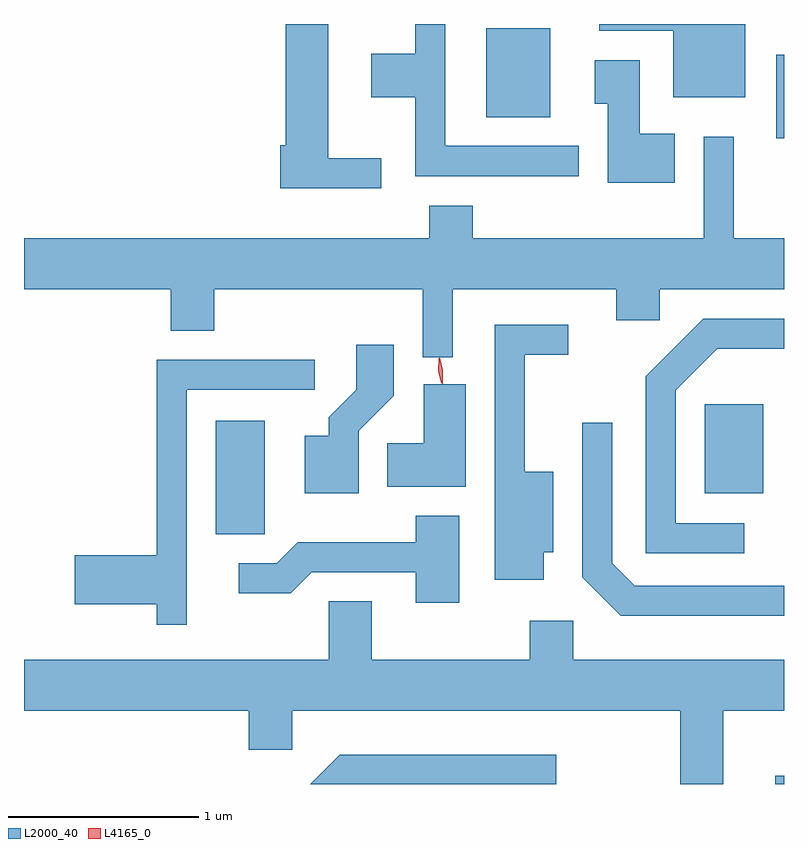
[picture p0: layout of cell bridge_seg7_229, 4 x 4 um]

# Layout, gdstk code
import gdstk
lib = gdstk.Library(unit=1e-6, precision=1e-09)
def R(c, l, rs):  # rectangles x0, y0, x1, y1
    for r in rs: c.add(gdstk.rectangle(r[:2], r[2:], *l))
def P(c, l, *ps):  # polygons
    for p in ps: c.add(gdstk.Polygon(p, *l))
L2000_40 = (2000, 40)
L4165_0 = (4165, 0)

bridge_seg7_229 = lib.new_cell('bridge_seg7_229')
R(bridge_seg7_229, L2000_40, [(1757.811,1718.371,1757.858,1718.414), (1754.866,1719.686,1755.124,1720.284), (1757.441,1719.901,1757.749,1720.369), (1757.816,1721.771,1757.858,1722.209), (1756.291,1721.881,1756.629,1722.349)])
P(bridge_seg7_229, L2000_40, [(1757.654,1722.371),(1756.886,1722.371),(1756.886,1722.336),(1757.276,1722.336),(1757.276,1721.986),(1757.654,1721.986)],
  [(1756.778,1721.729),(1756.074,1721.729),(1756.074,1722.371),(1755.916,1722.371),(1755.916,1722.214),(1755.686,1722.214),(1755.686,1721.986),(1755.916,1721.986),(1755.916,1721.571),(1756.778,1721.571)],
  [(1755.738,1721.664),(1755.459,1721.664),(1755.459,1722.371),(1755.236,1722.371),(1755.236,1721.734),(1755.206,1721.734),(1755.206,1721.506),(1755.738,1721.506)],
  [(1757.284,1721.794),(1757.099,1721.794),(1757.099,1722.179),(1756.861,1722.179),(1756.861,1721.951),(1756.931,1721.951),(1756.931,1721.536),(1757.284,1721.536)],
  [(1756.114,1720.976),(1756.976,1720.976),(1756.976,1720.811),(1757.204,1720.811),(1757.204,1720.976),(1757.858,1720.976),(1757.858,1721.244),(1757.594,1721.244),(1757.594,1721.778),(1757.436,1721.778),(1757.436,1721.244),(1756.219,1721.244),(1756.219,1721.414),(1755.991,1721.414),(1755.991,1721.244),(1753.858,1721.244),(1753.858,1720.976),(1754.631,1720.976),(1754.631,1720.756),(1754.859,1720.756),(1754.859,1720.976),(1755.956,1720.976),(1755.956,1720.618),(1756.114,1720.618)],
  [(1757.648,1719.744),(1757.289,1719.744),(1757.289,1720.444),(1757.507,1720.661),(1757.858,1720.661),(1757.858,1720.819),(1757.434,1720.819),(1757.131,1720.517),(1757.131,1719.586),(1757.648,1719.586)],
  [(1756.594,1719.591),(1756.644,1719.591),(1756.644,1720.014),(1756.494,1720.014),(1756.494,1720.631),(1756.723,1720.631),(1756.723,1720.789),(1756.336,1720.789),(1756.336,1719.446),(1756.594,1719.446)],
  [(1755.619,1720.229),(1755.804,1720.414),(1755.804,1720.684),(1755.606,1720.684),(1755.606,1720.447),(1755.461,1720.302),(1755.461,1720.204),(1755.336,1720.204),(1755.336,1719.901),(1755.619,1719.901)],
  [(1754.714,1720.446),(1755.388,1720.446),(1755.388,1720.604),(1754.556,1720.604),(1754.556,1719.574),(1754.126,1719.574),(1754.126,1719.316),(1754.556,1719.316),(1754.556,1719.208),(1754.714,1719.208)],
  [(1756.184,1720.474),(1755.961,1720.474),(1755.961,1720.164),(1755.771,1720.164),(1755.771,1719.936),(1756.184,1719.936)],
  [(1757.858,1719.414),(1757.072,1719.414),(1756.954,1719.532),(1756.954,1720.273),(1756.796,1720.273),(1756.796,1719.459),(1756.999,1719.256),(1757.858,1719.256)],
  [(1756.149,1719.784),(1755.921,1719.784),(1755.921,1719.644),(1755.299,1719.644),(1755.189,1719.534),(1754.988,1719.534),(1754.988,1719.376),(1755.262,1719.376),(1755.372,1719.486),(1755.921,1719.486),(1755.921,1719.326),(1756.149,1719.326)],
  [(1757.539,1718.756),(1757.858,1718.756),(1757.858,1719.024),(1756.749,1719.024),(1756.749,1719.229),(1756.521,1719.229),(1756.521,1719.024),(1755.689,1719.024),(1755.689,1719.334),(1755.461,1719.334),(1755.461,1719.024),(1753.858,1719.024),(1753.858,1718.756),(1755.041,1718.756),(1755.041,1718.551),(1755.269,1718.551),(1755.269,1718.756),(1757.311,1718.756),(1757.311,1718.371),(1757.539,1718.371)],
  [(1756.658,1718.524),(1755.519,1718.524),(1755.365,1718.371),(1756.658,1718.371)])
P(bridge_seg7_229, L4165_0, [(1756.06,1720.477),(1756.06,1720.478),(1756.043,1720.546),(1756.046,1720.616),(1756.046,1720.616),(1756.047,1720.616),(1756.063,1720.548),(1756.061,1720.478)],
  [(1756.054,1720.48),(1756.039,1720.545),(1756.042,1720.611),(1756.042,1720.612),(1756.043,1720.611),(1756.058,1720.546),(1756.055,1720.48),(1756.055,1720.48)])

lib.write_gds('bridge_seg7_229.gds')
